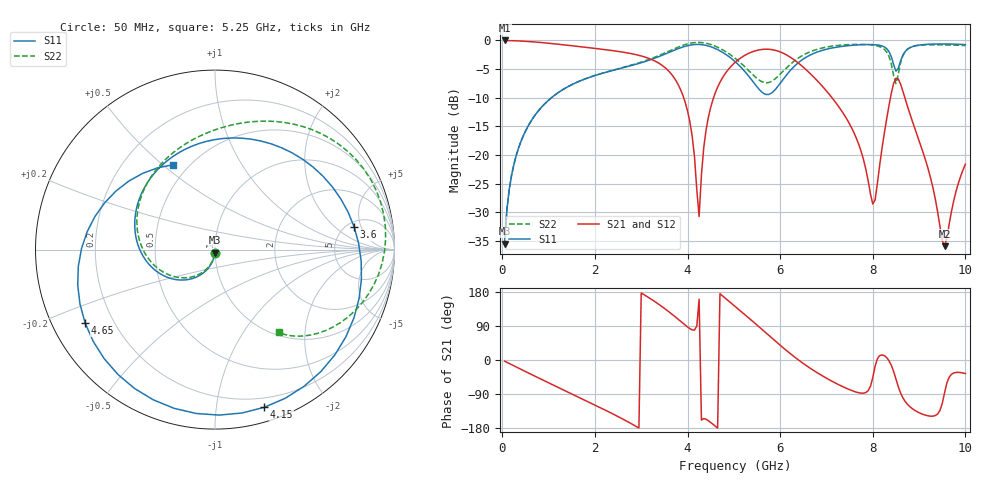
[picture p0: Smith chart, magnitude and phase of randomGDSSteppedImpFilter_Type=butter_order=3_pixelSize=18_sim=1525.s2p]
! freq	dB(S11)	phase(S11)	dB(S12)	phase(S12)
!  dB(S21)	phase(S21)	dB(S22)	phase(S22)
!S-par simulation data
#  GHz  S  DB  R 50
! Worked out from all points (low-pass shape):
!   200 points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, 50 MHz to 10 GHz, reference 50 ohm
!   highest |S21| = -0.01 dB at 50 MHz (marker M1); lowest = -35.9 dB at 9.55 GHz (marker M2)
!   |S21| within 3 dB of the highest: start of sweep to 3.118 GHz; 5.158 GHz to 6.234 GHz (1.075 GHz wide, 18.9 % of centre)
!   lowest |S11| = -35.5 dB at 50 MHz (marker M3), VSWR 1.03, Z = 49.9 - j1.68 ohm
!   |S11| at or under -10 dB: start of sweep to 1.062 GHz
!   |S22| runs from -35.5 to -0.4 dB; largest |S21 - S12| = 0
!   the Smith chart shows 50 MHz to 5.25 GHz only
!   S11 on the Smith chart (normalised r, x): 50 MHz: 1.00, -0.03; 3.6 GHz: 5.82, +3.79; 4.15 GHz: 0.12, -1.35; 4.65 GHz: 0.10, -0.26; 5.25 GHz: 0.41, +0.54
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0.05  -35.49 -92.7  -0.01 -3.1  -0.01 -3.1  -35.50 -93.0
0.2  -23.56 -101.9  -0.04 -12.3  -0.04 -12.3  -23.56 -103.0
0.5  -15.84 -119.6  -0.16 -30.4  -0.16 -30.4  -15.85 -122.3
1.75  -6.84 167.8  -1.15 -104.1  -1.15 -104.1  -6.83 162.7
2.65  -4.69 106.8  -2.11 -159.0  -2.11 -159.0  -4.62 113.6
3.4  -2.76 34.2  -4.07 145.2  -4.07 145.2  -2.57 73.5
3.6  -2.09 9.1  -5.41 127.0  -5.41 127.0  -1.86 61.3
4.15  -0.72 -72.7  -20.26 79.0  -20.26 79.0  -0.38 20.1
4.25  -0.70 -88.6  -30.76 160.3  -30.76 160.3  -0.35 11.8
4.4  -0.87 -112.3  -15.66 -156.3  -15.66 -156.3  -0.50 -0.6
4.65  -1.61 -150.6  -8.16 -179.8  -8.16 -179.8  -1.19 -19.8
5.05  -3.86 149.4  -3.67 138.9  -3.67 138.9  -3.26 -44.5
5.25  -5.54 116.6  -2.55 118.4  -2.55 118.4  -4.71 -52.5
5.8  -9.26 -15.4  -1.58 60.3  -1.58 60.3  -7.20 -44.8
6.25  -4.97 -112.4  -3.09 13.8  -3.09 13.8  -3.96 -46.5
6.7  -2.35 -171.4  -6.19 -25.9  -6.19 -25.9  -1.81 -67.2
7.4  -0.98 123.2  -13.21 -73.1  -13.21 -73.1  -0.77 -101.0
8  -0.73 75.7  -28.58 -46.6  -28.58 -46.6  -0.82 -130.2
8.35  -1.95 43.4  -11.38 -1.9  -11.38 -1.9  -2.77 -155.4
8.6  -3.60 58.2  -7.61 -86.8  -7.61 -86.8  -3.91 -121.1
9.55  -0.62 -6.2  -35.92 -86.7  -35.92 -86.7  -0.77 -176.5
10  -0.74 -32.6  -21.61 -35.9  -21.61 -35.9  -0.90 163.2
